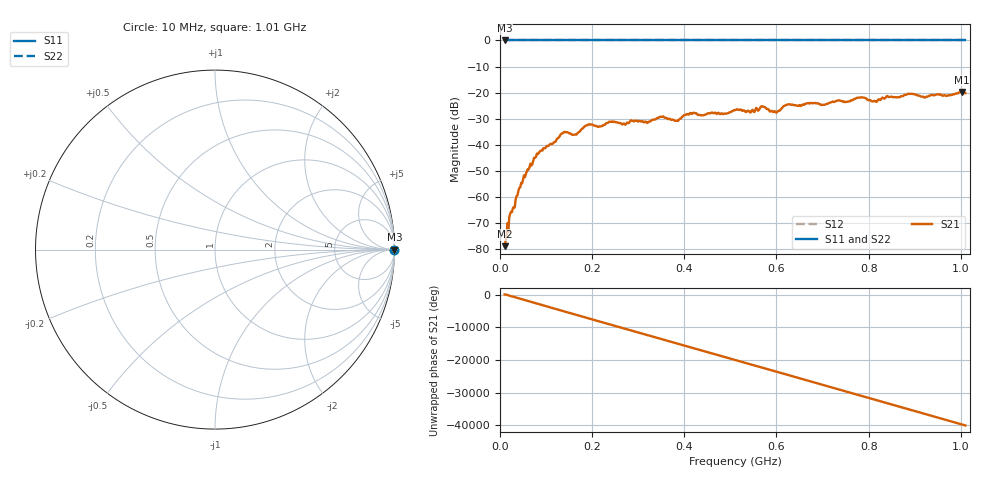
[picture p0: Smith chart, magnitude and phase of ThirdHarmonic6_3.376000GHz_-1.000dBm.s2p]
! 8/17/2025 10:43:19 AM
! C:\ANRITSUVNA\TEMP\TEMP.S2P
! CHANNEL.1
! TR.MEASUREMENT
! RAW.DATA
! RF.CORRECTION.OFF
! AVERAGING.OFF
! IF.BANDWIDTH: 5KHZ
! SWEEPTYPE:  FREQ.SWEEP(Linear)
! Reference Plane Port Info
! PORT:  PORT1  PORT2
! DISTANCE:  0  m  0  m
! TIME:  0  s  0  s
! PHASE.OFFSET:  0  deg.  0  deg.
! LOSS:  0  dB  0  dB
! REF.LOSS:  0  dB  0  dB
! REF.FREQ:  0  Hz  0  Hz
! Power Info
! POWER:  -20  dBm  -20  dBm
! EFF.POWER:  -20  dBm  -20  dBm
! SOURCE.ATTEN:  0  dB  0  dB
! TEST.ATTEN:  0  dB  0  dB
# GHZ S RI R 50.0
! FREQ.GHZ  S11RE  S11IM  S21RE  S21IM  S12RE  S12IM  S22RE  S22IM
!; PortSelection: Port_12
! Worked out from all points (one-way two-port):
!   501 points, 10 MHz to 1.01 GHz, reference 50 ohm
!   highest |S21| = -19.74 dB at 1.002 GHz (marker M1); lowest = -79.0 dB at 10 MHz (marker M2)
!   lowest |S11| = 0.0 dB at 10 MHz (marker M3)
!   |S11| at or under -10 dB: nowhere
!   |S22| runs from 0.0 to 0.0 dB; largest |S21 - S12| = 1.1
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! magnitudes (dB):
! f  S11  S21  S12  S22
! 10 MHz  0.0  -79.0  0.0  0.0
! 24 MHz  0.0  -65.8  0.0  0.0
! 38 MHz  0.0  -59.4  0.0  0.0
! 78 MHz  0.0  -44.8  0.0  0.0
! 136 MHz  0.0  -35.6  0.0  0.0
! 162 MHz  0.0  -36.2  0.0  0.0
! 178 MHz  0.0  -33.9  0.0  0.0
! 194 MHz  0.0  -32.2  0.0  0.0
! 344 MHz  0.0  -29.7  0.0  0.0
! 384 MHz  0.0  -30.8  0.0  0.0
! 416 MHz  0.0  -28.2  0.0  0.0
! 510 MHz  0.0  -26.8  0.0  0.0
! 548 MHz  0.0  -26.6  0.0  0.0
! 570 MHz  0.0  -25.3  0.0  0.0
! 598 MHz  0.0  -27.5  0.0  0.0
! 624 MHz  0.0  -24.6  0.0  0.0
! 678 MHz  0.0  -24.1  0.0  0.0
! 784 MHz  0.0  -21.8  0.0  0.0
! 814 MHz  0.0  -23.2  0.0  0.0
! 844 MHz  0.0  -21.7  0.0  0.0
! 1.002 GHz  0.0  -19.7  0.0  0.0
! 1.01 GHz  0.0  -20.2  0.0  0.0
